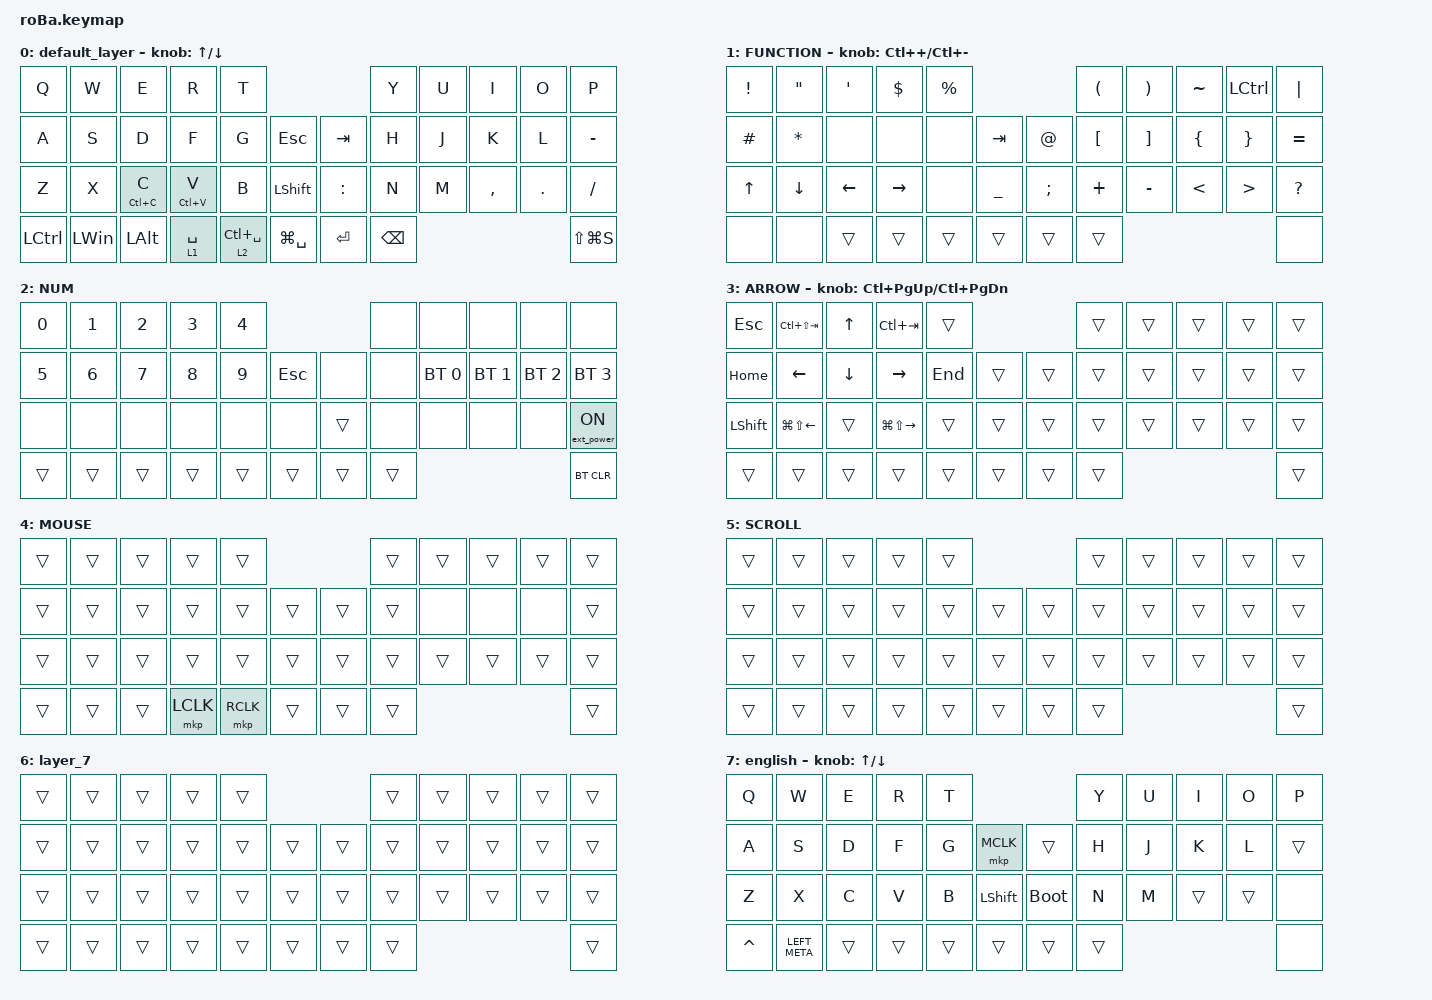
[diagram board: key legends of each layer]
#include <behaviors.dtsi>
#include <dt-bindings/zmk/bt.h>
#include <dt-bindings/zmk/ext_power.h>
#include <dt-bindings/zmk/keys.h>
#include <dt-bindings/zmk/pointing.h>

&mt {
    flavor = "balanced";
    quick-tap-ms = <0>;
};

&trackball {
    automouse-layer = <4>;
    scroll-layers = <5>;

    // arrows {
    //     layers = <3>;
    //     bindings =
    //         <&kp RIGHT_ARROW>,
    //         <&kp LEFT_ARROW>,
    //         <&kp UP_ARROW>,
    //         <&kp DOWN_ARROW>;
    //     tick = <10>;
    //     wait-ms = <5>;
    //     tap-ms = <5>;
    // };
};

/ {
    combos {
        compatible = "zmk,combos";

        tab {
            bindings = <&kp TAB>;
            key-positions = <11 12>;
        };

        shift_tab {
            bindings = <&kp LS(TAB)>;
            key-positions = <12 13>;
        };

        muhennkann {
            bindings = <&to_layer_0 INT_MUHENKAN>;
            key-positions = <11 10>;
        };

        double_quotation {
            bindings = <&kp DOUBLE_QUOTES>;
            key-positions = <20 21>;
        };

        eq {
            bindings = <&kp EQUAL>;
            key-positions = <24 25>;
        };
    };

    macros {
        to_layer_0: to_layer_0 {
            compatible = "zmk,behavior-macro-one-param";
            #binding-cells = <1>;
            bindings = <&to 0 &macro_param_1to1 &kp MACRO_PLACEHOLDER>;
            label = "TO_LAYER_0";
        };
    };

    behaviors {
        lt_to_layer_0: lt_to_layer_0 {
            compatible = "zmk,behavior-hold-tap";
            label = "LAYER_TAP_TO_0";
            bindings = <&mo>, <&to_layer_0>;

            #binding-cells = <2>;
            tapping-term-ms = <200>;
        };
    };

    keymap {
        compatible = "zmk,keymap";

        default_layer {
            bindings = <
&kp Q      &kp W         &kp E         &kp R        &kp T                                           &kp Y          &kp U  &kp I      &kp O    &kp P
&kp A      &kp S         &kp D         &kp F        &kp G            &kp ESCAPE          &kp TAB    &kp H          &kp J  &kp K      &kp L    &kp MINUS
&kp Z      &kp X         &mt LC(C) C   &mt LC(V) V  &kp B            &kp LEFT_SHIFT      &kp COLON  &kp N          &kp M  &kp COMMA  &kp DOT  &kp SLASH
&kp LCTRL  &kp LEFT_WIN  &kp LEFT_ALT  &lt 1 SPACE  &lt 2 LC(SPACE)  &kp LG(SPACE)       &kp ENTER  &kp BACKSPACE                             &kp LS(LG(S))
            >;

            sensor-bindings = <&inc_dec_kp UP DOWN>;
        };

        FUNCTION {
            bindings = <
&kp EXCLAMATION  &kp DOUBLE_QUOTES  &kp SQT   &kp DOLLAR  &kp PERCENT                                   &kp LEFT_PARENTHESIS  &kp RIGHT_PARENTHESIS  &kp TILDE       &kp LCTRL         &kp PIPE
&kp HASH         &kp ASTERISK       &none     &none       &none        &kp TAB             &kp AT_SIGN  &kp LEFT_BRACKET      &kp RIGHT_BRACKET      &kp LEFT_BRACE  &kp RIGHT_BRACE   &kp EQUAL
&kp UP_ARROW     &kp DOWN           &kp LEFT  &kp RIGHT   &none        &kp UNDERSCORE      &kp SEMI     &kp PLUS              &kp MINUS              &kp LESS_THAN   &kp GREATER_THAN  &kp QUESTION
&none            &none              &trans    &trans      &trans       &trans              &trans       &trans                                                                         &none
            >;

            sensor-bindings = <&inc_dec_kp LC(PLUS) LC(MINUS)>;
        };

        NUM {
            bindings = <
&kp N0  &kp N1  &kp N2  &kp N3  &kp N4                          &none   &none         &none         &none         &none
&kp N5  &kp N6  &kp N7  &kp N8  &kp N9  &kp ESCAPE      &none   &none   &bt BT_SEL 0  &bt BT_SEL 1  &bt BT_SEL 2  &bt BT_SEL 3
&none   &none   &none   &none   &none   &none           &trans  &none   &none         &none         &none         &ext_power EP_ON
&trans  &trans  &trans  &trans  &trans  &trans          &trans  &trans                                            &bt BT_CLR
            >;
        };

        ARROW {
            bindings = <
&kp ESCAPE      &kp LC(LS(TAB))         &kp UP_ARROW    &kp LC(TAB)              &trans                       &trans  &trans  &trans  &trans  &trans
&kp HOME        &kp LEFT_ARROW          &kp DOWN_ARROW  &kp RIGHT_ARROW          &kp END  &trans      &trans  &trans  &trans  &trans  &trans  &trans
&kp LEFT_SHIFT  &kp LG(LS(LEFT_ARROW))  &trans          &kp LG(LS(RIGHT_ARROW))  &trans   &trans      &trans  &trans  &trans  &trans  &trans  &trans
&trans          &trans                  &trans          &trans                   &trans   &trans      &trans  &trans                          &trans
            >;

            sensor-bindings = <&inc_dec_kp LC(PAGE_UP) LC(PAGE_DOWN)>;
        };

        MOUSE {
            bindings = <
&trans  &trans  &trans  &trans     &trans                         &trans  &trans  &trans  &trans  &trans
&trans  &trans  &trans  &trans     &trans     &trans      &trans  &trans  &none   &none   &none   &trans
&trans  &trans  &trans  &trans     &trans     &trans      &trans  &trans  &trans  &trans  &trans  &trans
&trans  &trans  &trans  &mkp LCLK  &mkp RCLK  &trans      &trans  &trans                          &trans
            >;
        };

        SCROLL {
            bindings = <
&trans  &trans  &trans  &trans  &trans                      &trans  &trans  &trans  &trans  &trans
&trans  &trans  &trans  &trans  &trans  &trans      &trans  &trans  &trans  &trans  &trans  &trans
&trans  &trans  &trans  &trans  &trans  &trans      &trans  &trans  &trans  &trans  &trans  &trans
&trans  &trans  &trans  &trans  &trans  &trans      &trans  &trans                          &trans
            >;
        };

        layer_7 {
            bindings = <
&trans  &trans  &trans  &trans  &trans                      &trans  &trans  &trans  &trans  &trans
&trans  &trans  &trans  &trans  &trans  &trans      &trans  &trans  &trans  &trans  &trans  &trans
&trans  &trans  &trans  &trans  &trans  &trans      &trans  &trans  &trans  &trans  &trans  &trans
&trans  &trans  &trans  &trans  &trans  &trans      &trans  &trans                          &trans
            >;
        };

        english {
            bindings = <
&kp Q      &kp W          &kp E   &kp R   &kp T                                    &kp Y   &kp U  &kp I   &kp O   &kp P
&kp A      &kp S          &kp D   &kp F   &kp G   &mkp MCLK           &trans       &kp H   &kp J  &kp K   &kp L   &trans
&kp Z      &kp X          &kp C   &kp V   &kp B   &kp LEFT_SHIFT      &bootloader  &kp N   &kp M  &trans  &trans  &none
&kp CARET  &kp LEFT_META  &trans  &trans  &trans  &trans              &trans       &trans                         &none
            >;

            sensor-bindings = <&inc_dec_kp UP_ARROW DOWN_ARROW>;
        };
    };
};
